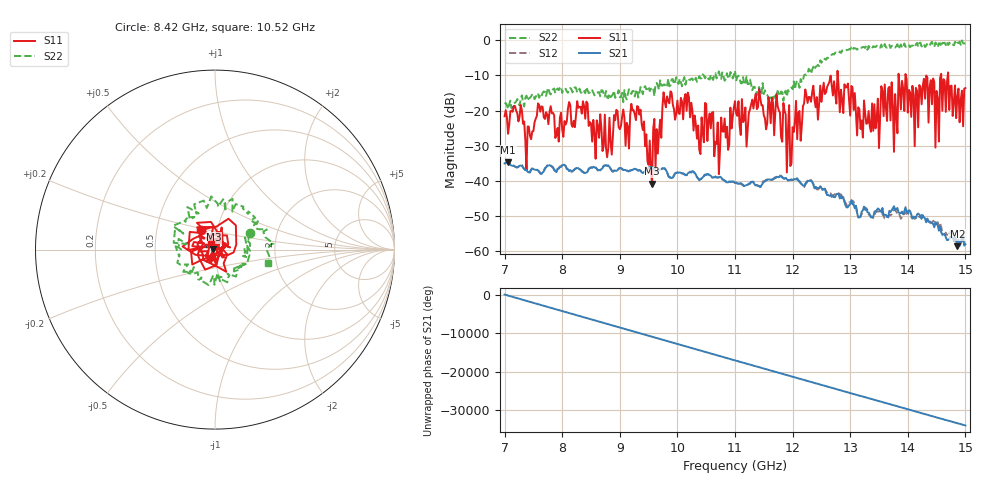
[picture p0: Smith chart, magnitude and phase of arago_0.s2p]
! 4/11/2025 3:24:46 PM
! C:\ANRITSUVNA\LELEC2350\LAB1_2025\GROUP1_0.S2P
! CHANNEL.1
! TR.MEASUREMENT
! CORRECTED.DATA
! RF.CORRECTION: FULL.TWO.PORT.CAL.PORT.1.2
! AVERAGING.OFF
! IF.BANDWIDTH: 300HZ
! SWEEPTYPE:  FREQ.SWEEP(Linear)
! Reference Plane Port Info
! PORT:  PORT1  PORT2
! DISTANCE:  0  m  0  m
! TIME:  0  s  0  s
! PHASE.OFFSET:  0 °  0 °
! LOSS:  0  dB  0  dB
! REF.LOSS:  0  dB  0  dB
! REF.FREQ:  0  Hz  0  Hz
! Power Info
! POWER:  5  dBm  5  dBm
! EFF.POWER:  5  dBm  5  dBm
# GHZ S RI R 50.0
! FREQ.GHZ  S11RE  S11IM  S21RE  S21IM  S12RE  S12IM  S22RE  S22IM
!; PortSelection: Port_12
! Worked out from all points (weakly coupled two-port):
!   401 points, 7 GHz to 15 GHz, reference 50 ohm
!   highest |S21| = -34.81 dB at 7.06 GHz (marker M1); lowest = -58.7 dB at 14.86 GHz (marker M2)
!   lowest |S11| = -40.9 dB at 9.56 GHz (marker M3), VSWR 1.02, Z = 49.1 + j0.141 ohm
!   |S11| at or under -10 dB: start of sweep to 12.78 GHz; 12.79 GHz to 13.84 GHz (1.054 GHz wide, 7.92 % of centre); 13.97 GHz to 14.57 GHz (606.7 MHz wide, 4.25 % of centre) (the widest 3 of 6)
!   |S22| runs from -19.6 to 0.0 dB; largest |S21 - S12| = 0.00086
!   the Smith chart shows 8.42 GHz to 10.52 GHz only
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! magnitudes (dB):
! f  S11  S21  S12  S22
! 7 GHz  -21.6  -35.1  -35.1  -18.1
! 7.06 GHz  -26.6  -34.8  -34.9  -19.6
! 7.4 GHz  -24.6  -37.4  -37.3  -17.2
! 7.62 GHz  -20.3  -37.9  -37.9  -15.4
! 7.92 GHz  -25.0  -36.6  -36.6  -13.7
! 8.34 GHz  -20.9  -37.4  -37.3  -14.9
! 8.82 GHz  -22.0  -36.0  -36.0  -15.2
! 9.32 GHz  -18.9  -37.1  -37.1  -16.3
! 9.56 GHz  -40.9  -36.1  -36.1  -13.9
! 9.68 GHz  -26.7  -36.9  -36.9  -14.1
! 9.86 GHz  -17.9  -39.0  -39.0  -13.1
! 10.36 GHz  -24.3  -39.4  -39.3  -11.6
! 10.58 GHz  -25.1  -38.6  -38.6  -9.8
! 10.68 GHz  -29.5  -39.1  -39.1  -10.9
! 11 GHz  -17.3  -40.5  -40.7  -8.7
! 11.74 GHz  -18.7  -38.9  -39.0  -14.4
! 11.94 GHz  -18.5  -39.8  -39.9  -14.4
! 12.34 GHz  -14.8  -40.3  -40.4  -8.4
! 13.32 GHz  -20.1  -49.1  -49.5  -1.6
! 13.68 GHz  -13.3  -48.6  -49.7  -1.3
! 14.86 GHz  -16.1  -58.7  -57.3  -0.7
! 15 GHz  -13.6  -58.1  -57.6  -0.9
